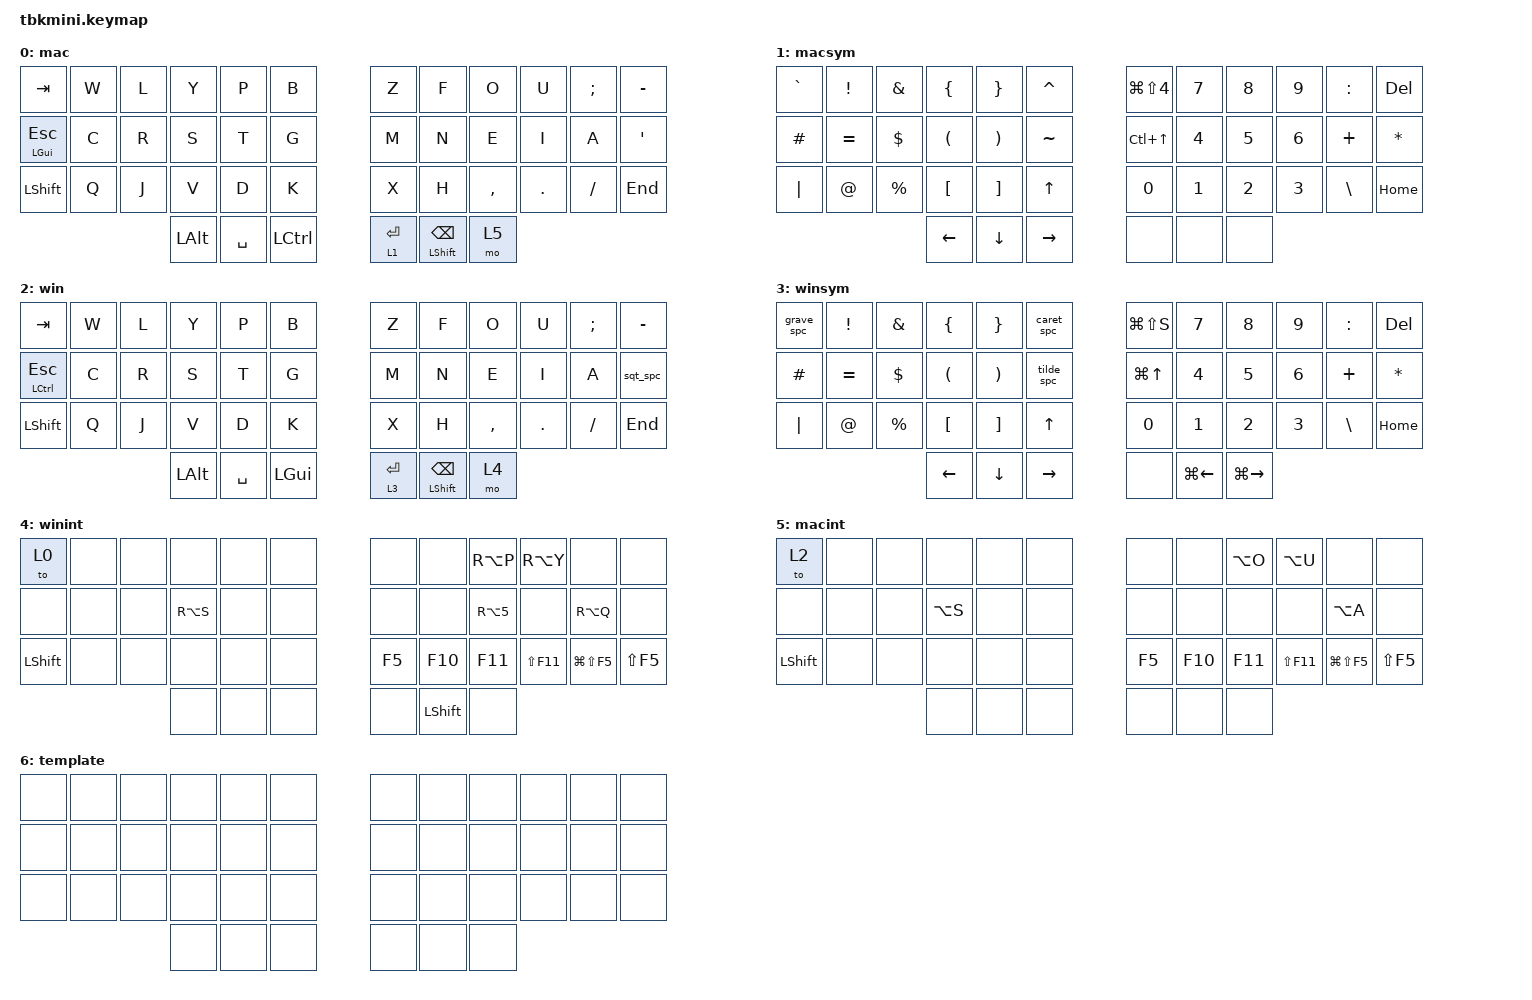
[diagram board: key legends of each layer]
#include <behaviors.dtsi>
#include <dt-bindings/zmk/keys.h>
#include <dt-bindings/zmk/bt.h>

/ {
     macros {
      sqt_spc: sqt_spc {
        label = "ZM_sqt_spc";
        compatible = "zmk,behavior-macro";
        #binding-cells = <0>;
        tap-ms = <30>;
        bindings = <&kp SQT &kp SPACE>;
      };
      grave_spc: grave_spc {
        label = "ZM_grave_spc";
        compatible = "zmk,behavior-macro";
        #binding-cells = <0>;
        tap-ms = <30>;
        bindings = <&kp GRAVE &kp SPACE>;
      };
      tilde_spc: tilde_spc {
        label = "ZM_tilde_spc";
        compatible = "zmk,behavior-macro";
        #binding-cells = <0>;
        tap-ms = <30>;
        bindings = <&kp TILDE &kp SPACE>;
      };
      caret_spc: caret_spc {
        label = "ZM_caret_spc";
        compatible = "zmk,behavior-macro";
        #binding-cells = <0>;
        tap-ms = <30>;
        bindings = <&kp CARET &kp SPACE>;
      };
    };
};

&lt { flavor = "hold-preferred"; };
&mt { flavor = "hold-preferred"; };

/ {
    keymap {
        compatible = "zmk,keymap";

        mac {
            bindings = <
                &kp TAB       &kp W  &kp L  &kp Y     &kp P    &kp B      &kp Z        &kp F          &kp O     &kp U    &kp SEMI  &kp MINUS
                &mt LGUI ESC  &kp C  &kp R  &kp S     &kp T    &kp G      &kp M        &kp N          &kp E     &kp I    &kp A     &kp SQT
                &kp LSHFT     &kp Q  &kp J  &kp V     &kp D    &kp K      &kp X        &kp H          &kp COMMA &kp DOT  &kp SLASH &kp END
                                            &kp LALT  &kp SPC  &kp LCTRL  &lt 1 ENTER  &mt LSHFT BSPC &mo 5
            >;
        };

        macsym {
            bindings = <
                &kp GRAVE  &kp EXCL   &kp AMPS  &kp LBRC  &kp RBRC  &kp CARET     &kp LG(LS(N4)) &kp N7   &kp N8  &kp N9  &kp COLON  &kp DEL
                &kp HASH   &kp EQUAL  &kp DLLR  &kp LPAR  &kp RPAR  &kp TILDE     &kp LC(UP)     &kp N4   &kp N5  &kp N6  &kp PLUS   &kp STAR
                &kp PIPE   &kp AT     &kp PRCNT &kp LBKT  &kp RBKT  &kp UP        &kp N0         &kp N1   &kp N2  &kp N3  &kp BSLH   &kp HOME
                                                &kp LEFT  &kp DOWN  &kp RIGHT     &none          &none    &none
            >;
        };

        win {
            bindings = <
                &kp TAB       &kp W  &kp L  &kp Y     &kp P    &kp B      &kp Z        &kp F          &kp O     &kp U    &kp SEMI  &kp MINUS
                &mt LCTRL ESC &kp C  &kp R  &kp S     &kp T    &kp G      &kp M        &kp N          &kp E     &kp I    &kp A     &sqt_spc
                &kp LSHFT     &kp Q  &kp J  &kp V     &kp D    &kp K      &kp X        &kp H          &kp COMMA &kp DOT  &kp SLASH &kp END
                                            &kp LALT  &kp SPC  &kp LGUI   &lt 3 ENTER  &mt LSHFT BSPC &mo 4
            >;
        };

        winsym {
            bindings = <
                &grave_spc   &kp EXCL    &kp AMPS   &kp LBRC  &kp RBRC  &caret_spc    &kp LG(LS(S))  &kp N7         &kp N8  &kp N9  &kp COLON  &kp DEL
                &kp HASH     &kp EQUAL   &kp DLLR   &kp LPAR  &kp RPRN  &tilde_spc    &kp LG(UP)     &kp N4         &kp N5  &kp N6  &kp PLUS   &kp STAR
                &kp PIPE     &kp AT      &kp PRCNT  &kp LBKT  &kp RBKT  &kp UP        &kp N0         &kp N1         &kp N2  &kp N3  &kp BSLH   &kp HOME
                                                    &kp LEFT  &kp DOWN  &kp RIGHT     &none          &kp LG(LEFT)   &kp LG(RIGHT)
            >;
        };

        winint {
            bindings = <
                &to 0     &none  &none  &none     &none  &none      &none   &none       &kp RA(P)    &kp RA(Y)       &none               &none
                &none     &none  &none  &kp RA(S) &none  &none      &none   &none       &kp RA(5)    &none           &kp RA(Q)           &none
                &kp LSHFT &none  &none  &none     &none  &none      &kp F5  &kp F10     &kp F11      &kp LS(F11)     &kp LG(LS(F5))      &kp LS(F5)
                                        &none     &none  &none      &none   &kp LSHFT   &none
            >;
        };

        macint {
            bindings = <
                &to 2      &none  &none  &none      &none  &none      &none   &none       &kp LA(O)  &kp LA(U)       &none           &none
                &none      &none  &none  &kp LA(S)  &none  &none      &none   &none       &none      &none           &kp LA(A)       &none
                &kp LSHFT  &none  &none  &none      &none  &none      &kp F5  &kp F10     &kp F11    &kp LS(F11)     &kp LG(LS(F5))  &kp LS(F5)
                                         &none      &none  &none      &none   &none       &none
            >;
        };

        template {
            bindings = <
                &none  &none  &none  &none  &none  &none      &none  &none  &none  &none  &none  &none
                &none  &none  &none  &none  &none  &none      &none  &none  &none  &none  &none  &none
                &none  &none  &none  &none  &none  &none      &none  &none  &none  &none  &none  &none
                                     &none  &none  &none      &none  &none  &none
            >;
        };
    };
};
